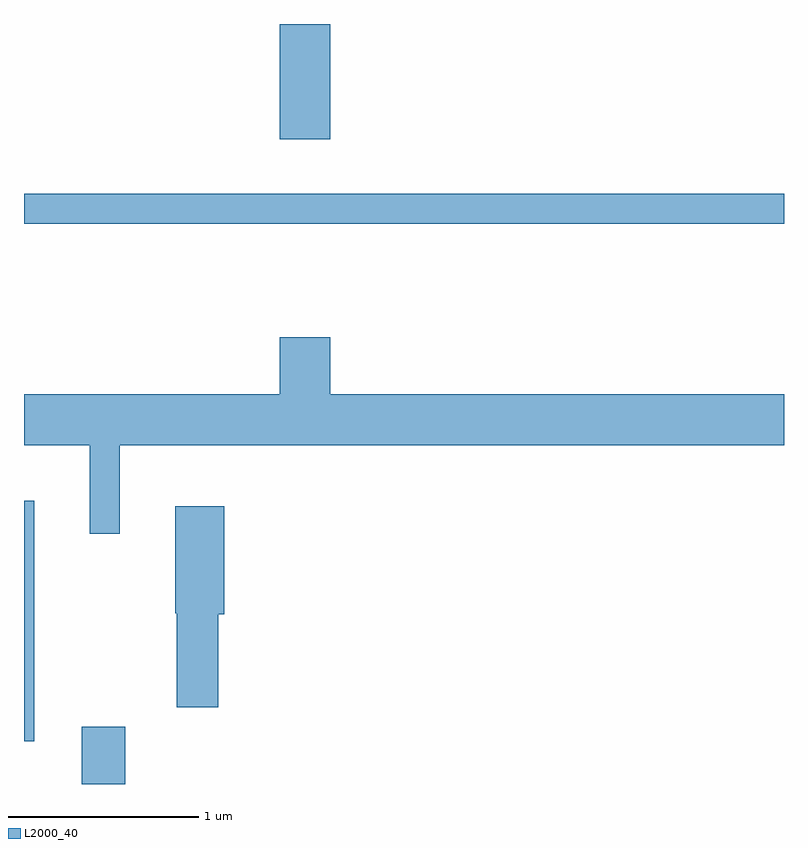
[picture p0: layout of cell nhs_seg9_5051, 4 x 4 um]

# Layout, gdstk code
import gdstk
lib = gdstk.Library(unit=1e-6, precision=1e-09)
def R(c, l, rs):  # rectangles x0, y0, x1, y1
    for r in rs: c.add(gdstk.rectangle(r[:2], r[2:], *l))
def P(c, l, *ps):  # polygons
    for p in ps: c.add(gdstk.Polygon(p, *l))
L2000_40 = (2000, 40)

nhs_seg9_5051 = lib.new_cell('nhs_seg9_5051')
R(nhs_seg9_5051, L2000_40, [(333.916,2034.432,334.144,2034.734), (333.611,2034.658,333.664,2035.924), (333.611,2037.381,337.611,2037.539), (334.956,2037.826,335.224,2038.432)])
P(nhs_seg9_5051, L2000_40, [(334.114,2036.216),(337.611,2036.216),(337.611,2036.484),(335.224,2036.484),(335.224,2036.784),(334.956,2036.784),(334.956,2036.484),(333.611,2036.484),(333.611,2036.216),(333.956,2036.216),(333.956,2035.748),(334.114,2035.748)],
  [(334.634,2035.326),(334.664,2035.326),(334.664,2035.894),(334.406,2035.894),(334.406,2035.33),(334.416,2035.33),(334.416,2034.836),(334.634,2034.836)])

lib.write_gds('nhs_seg9_5051.gds')
